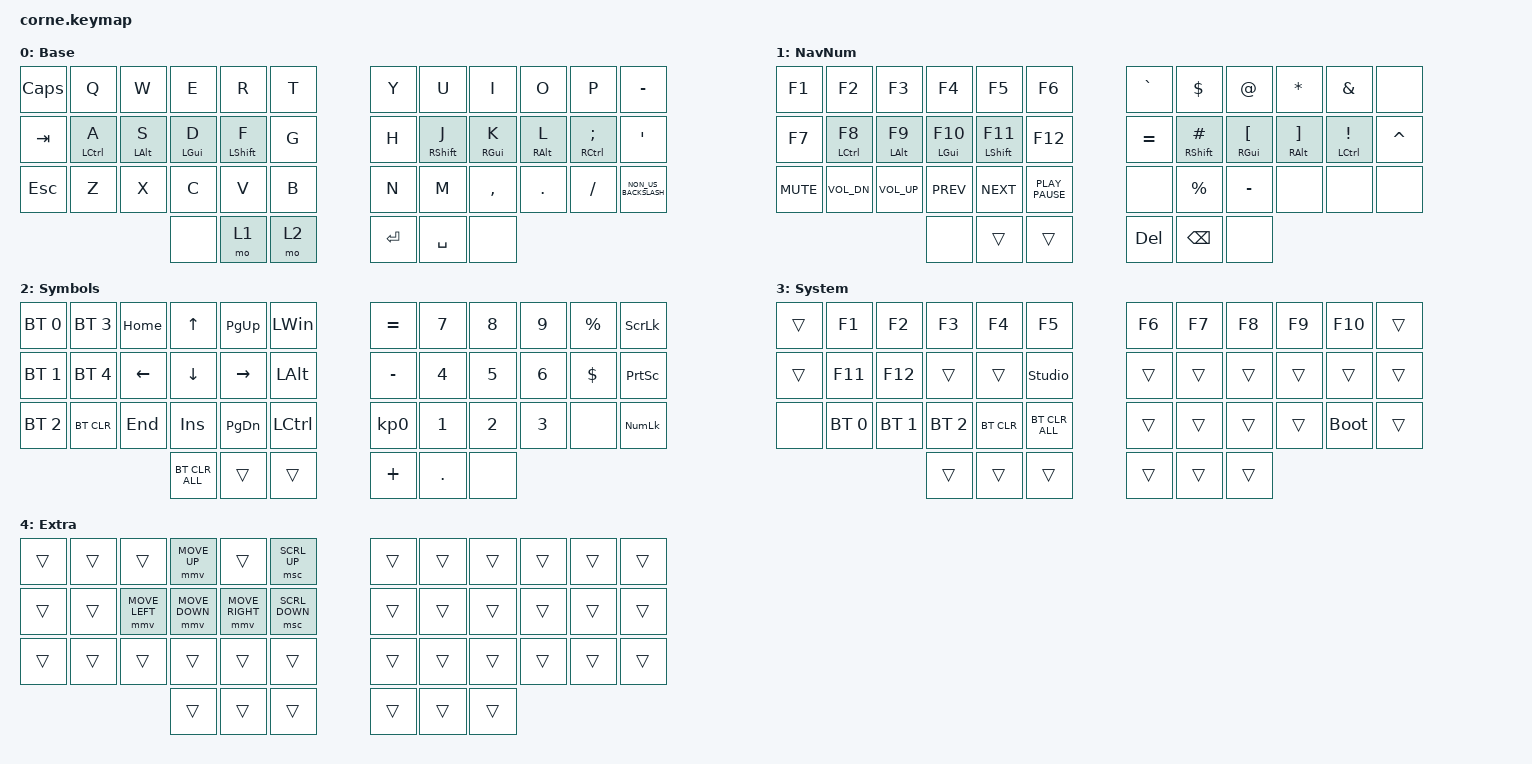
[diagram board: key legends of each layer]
#include <behaviors.dtsi>
#include <dt-bindings/zmk/bt.h>
#include <dt-bindings/zmk/keys.h>
#include <dt-bindings/zmk/pointing.h>

#define DEF 0
#define NAV 1
#define SYM 2
#define ADJ 3
#define EXTRA 4

/ {
    behaviors {
        hm: homerow_mods {
            compatible = "zmk,behavior-hold-tap";
            label = "HOMEROW_MODS";
            #binding-cells = <2>;
            tapping-term-ms = <200>;
            quick_tap_ms = <0>;
            flavor = "tap-preferred";
            bindings = <&kp>, <&kp>;

            quick-tap-ms = <180>;
            global-quick-tap;
        };

        para: para {
            compatible = "zmk,behavior-tap-dance";
            label = "PARA";
            #binding-cells = <0>;
            bindings = <&kp LEFT_PARENTHESIS>, <&kp RIGHT_PARENTHESIS>;
        };

        caps: caps {
            compatible = "zmk,behavior-caps-word";
            label = "CAPS";
            #binding-cells = <0>;
            continue-list = <MINUS BACKSPACE>;
        };

        paraless: paraless {
            compatible = "zmk,behavior-mod-morph";
            label = "PARALESS";
            bindings = <&kp LEFT_PARENTHESIS>, <&kp LESS_THAN>;

            #binding-cells = <0>;
            mods = <(MOD_LSFT)>;
        };

        paragreat: paragreat {
            compatible = "zmk,behavior-mod-morph";
            label = "PARAGREAT";
            bindings = <&kp RIGHT_PARENTHESIS>, <&kp GREATER_THAN>;

            #binding-cells = <0>;
            mods = <(MOD_LSFT)>;
        };
    };

    macros {
        browsertab: browsertab {
            compatible = "zmk,behavior-macro";
            #binding-cells = <0>;
            bindings =
                <&macro_press>,
                <&kp LCTRL>,
                <&macro_tap>,
                <&kp TAB>,
                <&macro_release>,
                <&kp LCTRL>;
        };
    };

    combos {
        compatible = "zmk,combos";

        escape {
            bindings = <&kp ESCAPE>;
            key-positions = <13 29>;
        };

        delete {
            bindings = <&kp DELETE>;
            key-positions = <15 21>;
        };

        perc {
            bindings = <&kp PERCENT>;
            key-positions = <5 17>;
        };

        equal {
            bindings = <&kp EQUAL>;
            key-positions = <28 16>;
        };

        dollar {
            bindings = <&kp DOLLAR>;
            key-positions = <4 16>;
        };

        pound {
            bindings = <&kp POUND>;
            key-positions = <3 15>;
        };

        at {
            bindings = <&kp AT>;
            key-positions = <2 14>;
        };

        backslash {
            bindings = <&kp BACKSLASH>;
            key-positions = <26 14>;
        };

        copy {
            bindings = <&kp K_COPY>;
            key-positions = <28 27>;
        };

        paste {
            bindings = <&kp K_PASTE>;
            key-positions = <26 27>;
        };

        star {
            bindings = <&kp STAR>;
            key-positions = <8 20>;
        };

        slash {
            bindings = <&kp SLASH>;
            key-positions = <32 20>;
        };

        plus {
            bindings = <&kp PLUS>;
            key-positions = <7 19>;
        };

        minus {
            bindings = <&kp KP_MINUS>;
            key-positions = <31 19>;
        };

        underscore {
            bindings = <&kp UNDER>;
            key-positions = <30 18>;
        };

        leftbrack {
            bindings = <&kp LEFT_BRACKET>;
            key-positions = <31 32>;
        };

        rightbrack {
            bindings = <&kp RIGHT_BRACKET>;
            key-positions = <33 32>;
        };

        para-less {
            bindings = <&paraless>;
            key-positions = <20 19>;
        };

        para-great {
            bindings = <&paragreat>;
            key-positions = <20 21>;
        };
    };

    //

    keymap {
        compatible = "zmk,keymap";

        DEF {
            display-name = "Base";

            // -----------------------------------------------------------------------------------------
            // |  Q  |  W  |  E  |  R  |  T  |   |  Y  |  U   |  I  |  O  |  P  |
            // |  A  |  S  |  D  |  F  |  G  |   |  H  |  J   |  K  |  L  |  ;  |
            // |  Z  |  X  |  C  |  V  |  B  |   |  N  |  M   |  ,  |  .  |  /  |
            // | GUI | CTRL | SHFT | LWR | SPC |   | ENT | RSE  | BKSP | ALT | ESC |

            bindings = <
&kp CAPS    &kp Q        &kp W           &kp E       &kp R             &kp T    &kp Y      &kp U              &kp I       &kp O            &kp P                &kp MINUS
&kp TAB     &hm LCTRL A  &hm LEFT_ALT S  &hm LGUI D  &hm LEFT_SHIFT F  &kp G    &kp H      &hm RIGHT_SHIFT J  &hm RGUI K  &hm RIGHT_ALT L  &hm RCTRL SEMICOLON  &kp SQT
&kp ESCAPE  &kp Z        &kp X           &kp C       &kp V             &kp B    &kp N      &kp M              &kp COMMA   &kp PERIOD       &kp SLASH            &kp NON_US_BACKSLASH
                                         &none       &mo 1             &mo 2    &kp ENTER  &kp SPACE          &none
            >;
        };

        NAV {
            display-name = "NavNum";

            // -----------------------------------------------------------------------------------------
            // |  TAB |  1  |  2  |  3  |  4  |  5  |   |  6  |  7  |  8  |  9  |  0  | BKSP |
            // | BTCLR| BT1 | BT2 | BT3 | BT4 | BT5 |   | LFT | DWN |  UP | RGT |     |      |
            // | SHFT |     |     |     |     |     |   |     |     |     |     |     |      |
            // | GUI | CTRL | SHFT | LWR | SPC |   | ENT | RSE  | BKSP | ALT | ESC |

            bindings = <
&kp F1      &kp F2               &kp F3           &kp F4        &kp F5              &kp F6              &kp GRAVE   &kp DOLLAR            &kp AT_SIGN            &kp ASTERISK                 &kp AMPERSAND          &none
&kp F7      &hm LEFT_CONTROL F8  &hm LEFT_ALT F9  &hm LGUI F10  &hm LEFT_SHIFT F11  &kp F12             &kp EQUAL   &hm RIGHT_SHIFT HASH  &hm RGUI LEFT_BRACKET  &hm RIGHT_ALT RIGHT_BRACKET  &hm LCTRL EXCLAMATION  &kp CARET
&kp K_MUTE  &kp C_VOL_DN         &kp C_VOL_UP     &kp K_PREV    &kp K_NEXT          &kp K_PLAY_PAUSE    &none       &kp PERCENT           &kp MINUS              &none                        &none                  &none
                                                  &none         &trans              &trans              &kp DELETE  &kp BACKSPACE         &none
            >;
        };

        SYM {
            display-name = "Symbols";

            // -----------------------------------------------------------------------------------------
            // |  TAB |  !  |  @  |  #  |  $  |  %  |   |  ^  |  &  |  *  |  (  |  )  | BKSP |
            // | CTRL |     |     |     |     |     |   |  -  |  =  |  [  |  ]  |  \  |  `   |
            // | SHFT |     |     |     |     |     |   |  _  |  +  |  {  |  }  | "|" |  ~   |
            //                    | GUI |     | SPC |   | ENT |     | ALT |

            bindings = <
&bt BT_SEL 0  &bt BT_SEL 3  &kp HOME        &kp UP_ARROW    &kp PAGE_UP      &kp LEFT_WIN        &kp EQUAL        &kp NUMBER_7  &kp NUMBER_8  &kp NUMBER_9  &kp PERCENT  &kp SCROLLLOCK
&bt BT_SEL 1  &bt BT_SEL 4  &kp LEFT_ARROW  &kp DOWN_ARROW  &kp RIGHT_ARROW  &kp LEFT_ALT        &kp MINUS        &kp NUMBER_4  &kp NUMBER_5  &kp NUMBER_6  &kp DOLLAR   &kp PRINTSCREEN
&bt BT_SEL 2  &bt BT_CLR    &kp END         &kp INSERT      &kp PAGE_DOWN    &kp LEFT_CONTROL    &kp KP_NUMBER_0  &kp NUMBER_1  &kp NUMBER_2  &kp NUMBER_3  &none        &kp KP_NUMLOCK
                                            &bt BT_CLR_ALL  &trans           &trans              &kp PLUS         &kp PERIOD    &none
            >;
        };

        ADJ {
            display-name = "System";
            bindings = <
&trans  &kp F1        &kp F2        &kp F3        &kp F4      &kp F5            &kp F6  &kp F7  &kp F8  &kp F9  &kp F10      &trans
&trans  &kp F11       &kp F12       &trans        &trans      &studio_unlock    &trans  &trans  &trans  &trans  &trans       &trans
&none   &bt BT_SEL 0  &bt BT_SEL 1  &bt BT_SEL 2  &bt BT_CLR  &bt BT_CLR_ALL    &trans  &trans  &trans  &trans  &bootloader  &trans
                                    &trans        &trans      &trans            &trans  &trans  &trans
            >;
        };

        EXTRA {
            display-name = "Extra";
            bindings = <
&trans  &trans  &trans          &mmv MOVE_UP    &trans           &msc SCRL_UP      &trans  &trans  &trans  &trans  &trans  &trans
&trans  &trans  &mmv MOVE_LEFT  &mmv MOVE_DOWN  &mmv MOVE_RIGHT  &msc SCRL_DOWN    &trans  &trans  &trans  &trans  &trans  &trans
&trans  &trans  &trans          &trans          &trans           &trans            &trans  &trans  &trans  &trans  &trans  &trans
                                &trans          &trans           &trans            &trans  &trans  &trans
            >;
        };
    };

    conditional_layers {
        compatible = "zmk,conditional-layers";

        l3 {
            if-layers = <1 2>;
            then-layer = <3>;
        };
    };
};
